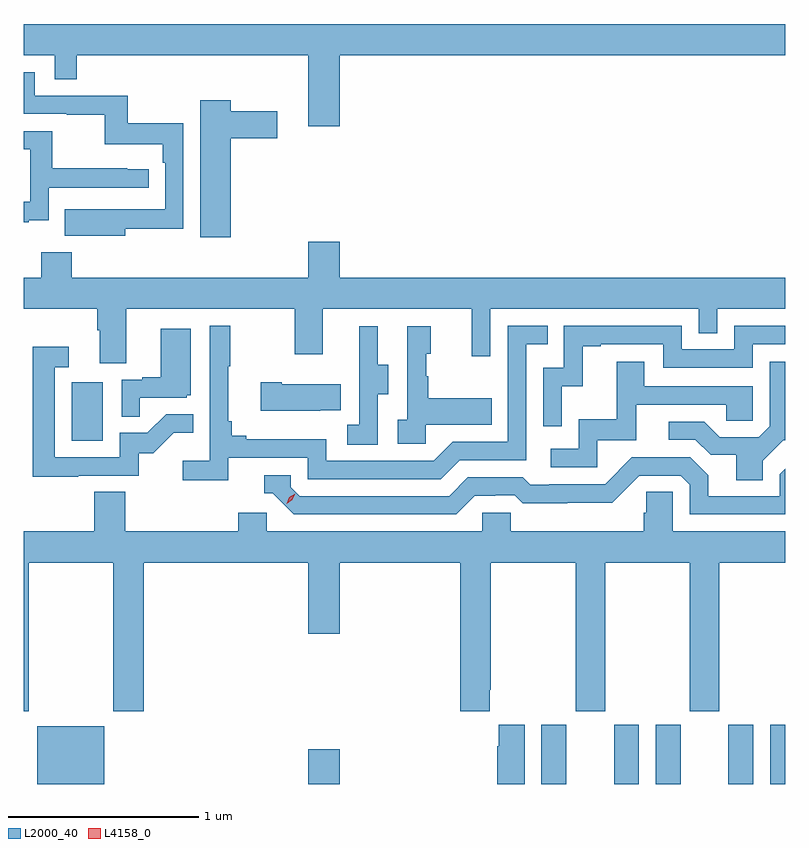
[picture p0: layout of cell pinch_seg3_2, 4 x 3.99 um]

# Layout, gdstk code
import gdstk
lib = gdstk.Library(unit=1e-6, precision=1e-09)
def R(c, l, rs):  # rectangles x0, y0, x1, y1
    for r in rs: c.add(gdstk.rectangle(r[:2], r[2:], *l))
def P(c, l, *ps):  # polygons
    for p in ps: c.add(gdstk.Polygon(p, *l))
L2000_40 = (2000, 40)
L4158_0 = (4158, 0)

pinch_seg3_2 = lib.new_cell('pinch_seg3_2')
R(pinch_seg3_2, L2000_40, [(1134.614,734.386,1134.964,734.689), (1136.036,734.386,1136.2,734.569), (1137.26,734.386,1137.391,734.698), (1137.641,734.386,1137.772,734.698), (1137.86,734.386,1137.991,734.698), (1138.241,734.386,1138.372,734.698), (1138.46,734.386,1138.541,734.698), (1134.794,736.188,1134.958,736.495)])
P(pinch_seg3_2, L2000_40, [(1136.2,738.212),(1138.541,738.212),(1138.541,738.376),(1134.541,738.376),(1134.541,738.212),(1134.705,738.212),(1134.705,738.085),(1134.821,738.085),(1134.821,738.212),(1136.036,738.212),(1136.036,737.838),(1136.2,737.838)],
  [(1135.075,737.302),(1135.38,737.302),(1135.38,737.854),(1135.087,737.854),(1135.087,738),(1134.6,738),(1134.6,738.123),(1134.541,738.123),(1134.541,737.904),(1134.769,737.904),(1134.769,737.899),(1134.966,737.899),(1134.966,737.744),(1135.271,737.744),(1135.271,737.648),(1135.284,737.648),(1135.284,737.403),(1134.971,737.403),(1134.971,737.404),(1134.757,737.404),(1134.757,737.264),(1135.075,737.264)],
  [(1135.63,737.777),(1135.873,737.777),(1135.873,737.919),(1135.63,737.919),(1135.63,737.977),(1135.469,737.977),(1135.469,737.256),(1135.63,737.256)],
  [(1134.569,737.345),(1134.672,737.345),(1134.672,737.517),(1135.198,737.517),(1135.198,737.613),(1135.085,737.613),(1135.085,737.618),(1134.692,737.618),(1134.692,737.814),(1134.541,737.814),(1134.541,737.718),(1134.576,737.718),(1134.576,737.442),(1134.541,737.442),(1134.541,737.334),(1134.569,737.334)],
  [(1135.081,736.88),(1135.966,736.88),(1135.966,736.641),(1136.113,736.641),(1136.113,736.88),(1136.894,736.88),(1136.894,736.632),(1136.991,736.632),(1136.991,736.88),(1138.086,736.88),(1138.086,736.753),(1138.182,736.753),(1138.182,736.88),(1138.541,736.88),(1138.541,737.044),(1136.2,737.044),(1136.2,737.233),(1136.036,737.233),(1136.036,737.044),(1134.794,737.044),(1134.794,737.179),(1134.634,737.179),(1134.634,737.044),(1134.541,737.044),(1134.541,736.88),(1134.929,736.88),(1134.929,736.768),(1134.941,736.768),(1134.941,736.594),(1135.081,736.594)],
  [(1135.616,736.098),(1136.034,736.098),(1136.034,735.987),(1136.731,735.987),(1136.83,736.086),(1137.18,736.086),(1137.18,736.695),(1137.293,736.695),(1137.293,736.791),(1137.084,736.791),(1137.084,736.182),(1136.793,736.182),(1136.694,736.083),(1136.13,736.083),(1136.13,736.195),(1135.711,736.195),(1135.711,736.214),(1135.634,736.214),(1135.634,736.291),(1135.615,736.291),(1135.615,736.579),(1135.627,736.579),(1135.627,736.792),(1135.518,736.792),(1135.518,736.084),(1135.377,736.084),(1135.377,735.982),(1135.616,735.982)],
  [(1137.366,736.475),(1137.476,736.475),(1137.476,736.683),(1137.571,736.683),(1137.571,736.695),(1137.9,736.695),(1137.9,736.572),(1138.368,736.572),(1138.368,736.695),(1138.541,736.695),(1138.541,736.791),(1138.272,736.791),(1138.272,736.668),(1137.996,736.668),(1137.996,736.791),(1137.378,736.791),(1137.378,736.572),(1137.27,736.572),(1137.27,736.263),(1137.366,736.263)],
  [(1136.652,736.271),(1136.999,736.271),(1136.999,736.411),(1136.665,736.411),(1136.665,736.526),(1136.655,736.526),(1136.655,736.644),(1136.68,736.644),(1136.68,736.789),(1136.556,736.789),(1136.556,736.298),(1136.505,736.298),(1136.505,736.173),(1136.652,736.173)],
  [(1136.4,736.432),(1136.455,736.432),(1136.455,736.587),(1136.401,736.587),(1136.401,736.789),(1136.303,736.789),(1136.303,736.575),(1136.304,736.575),(1136.304,736.271),(1136.241,736.271),(1136.241,736.168),(1136.4,736.168)],
  [(1135.151,736.413),(1135.398,736.413),(1135.398,736.428),(1135.42,736.428),(1135.42,736.777),(1135.262,736.777),(1135.262,736.522),(1135.163,736.522),(1135.163,736.509),(1135.056,736.509),(1135.056,736.315),(1135.151,736.315)],
  [(1134.827,736.005),(1135.146,736.005),(1135.146,736.122),(1135.222,736.122),(1135.329,736.229),(1135.433,736.229),(1135.433,736.328),(1135.289,736.328),(1135.191,736.23),(1135.047,736.23),(1135.047,736.101),(1134.705,736.101),(1134.705,736.575),(1134.778,736.575),(1134.778,736.681),(1134.589,736.681),(1134.589,736),(1134.827,736)],
  [(1137.552,736.191),(1137.757,736.191),(1137.757,736.377),(1138.231,736.377),(1138.231,736.293),(1138.368,736.293),(1138.368,736.473),(1137.799,736.473),(1137.799,736.603),(1137.655,736.603),(1137.655,736.3),(1137.456,736.3),(1137.456,736.146),(1137.309,736.146),(1137.309,736.05),(1137.552,736.05)],
  [(1138.423,736.084),(1138.53,736.191),(1138.541,736.191),(1138.541,736.603),(1138.458,736.603),(1138.458,736.263),(1138.401,736.206),(1138.195,736.206),(1138.114,736.287),(1137.927,736.287),(1137.927,736.194),(1138.068,736.194),(1138.148,736.114),(1138.283,736.114),(1138.283,735.982),(1138.423,735.982)],
  [(1136.099,736.349),(1136.207,736.349),(1136.207,736.486),(1135.897,736.486),(1135.897,736.494),(1135.785,736.494),(1135.785,736.346),(1136.099,736.346)],
  [(1136.911,735.9),(1137.018,735.9),(1137.018,735.903),(1137.121,735.903),(1137.163,735.861),(1137.396,735.861),(1137.396,735.863),(1137.632,735.863),(1137.774,736.005),(1137.99,736.005),(1138.038,735.957),(1138.038,735.801),(1138.541,735.801),(1138.541,736.04),(1138.512,736.011),(1138.512,735.897),(1138.135,735.897),(1138.135,736.007),(1138.041,736.101),(1137.735,736.101),(1137.594,735.96),(1137.301,735.96),(1137.301,735.957),(1137.202,735.957),(1137.163,735.996),(1136.874,735.996),(1136.775,735.897),(1135.992,735.897),(1135.944,735.945),(1135.944,736.008),(1135.805,736.008),(1135.805,735.912),(1135.848,735.912),(1135.959,735.801),(1136.812,735.801)],
  [(1134.567,735.548),(1135.012,735.548),(1135.012,734.769),(1135.172,734.769),(1135.172,735.548),(1136.036,735.548),(1136.036,735.174),(1136.2,735.174),(1136.2,735.548),(1136.834,735.548),(1136.834,734.769),(1136.989,734.769),(1136.989,734.881),(1136.994,734.881),(1136.994,735.548),(1137.439,735.548),(1137.439,734.769),(1137.594,734.769),(1137.594,735.548),(1138.039,735.548),(1138.039,734.769),(1138.194,734.769),(1138.194,735.548),(1138.541,735.548),(1138.541,735.712),(1137.948,735.712),(1137.948,735.92),(1137.811,735.92),(1137.811,735.81),(1137.797,735.81),(1137.797,735.712),(1137.099,735.712),(1137.099,735.81),(1136.949,735.81),(1136.949,735.712),(1135.818,735.712),(1135.818,735.81),(1135.667,735.81),(1135.667,735.712),(1135.076,735.712),(1135.076,735.92),(1134.911,735.92),(1134.911,735.712),(1134.541,735.712),(1134.541,734.769),(1134.567,734.769)],
  [(1137.172,734.698),(1137.035,734.698),(1137.035,734.585),(1137.029,734.585),(1137.029,734.386),(1137.172,734.386)])
P(pinch_seg3_2, L4158_0, [(1135.922,735.858),(1135.922,735.858),(1135.937,735.891),(1135.968,735.911),(1135.968,735.911),(1135.968,735.911),(1135.952,735.878),(1135.922,735.858)])

lib.write_gds('pinch_seg3_2.gds')
